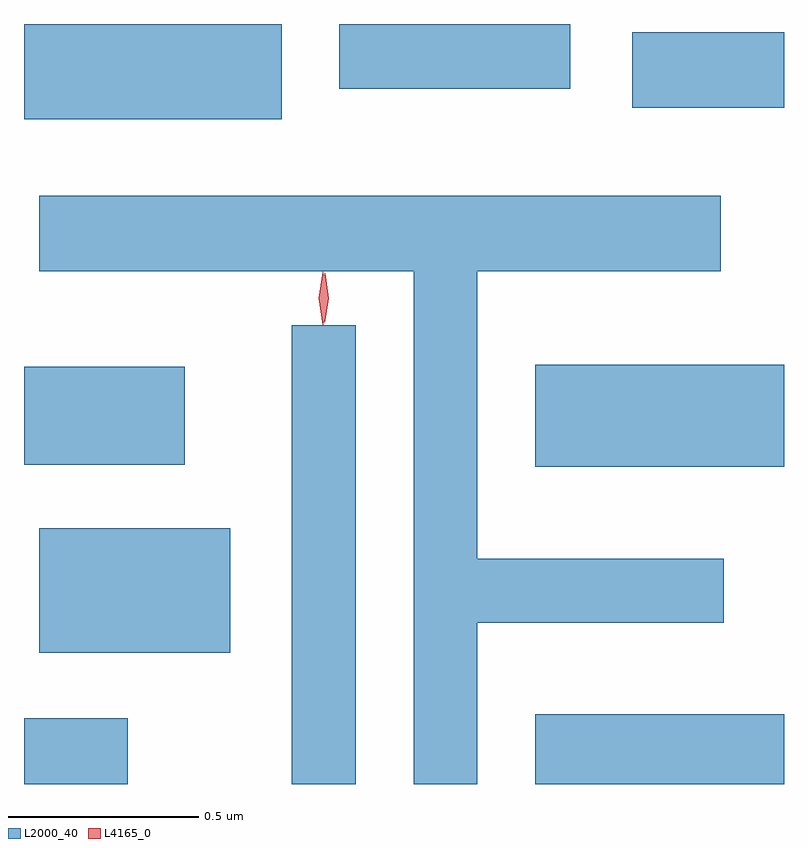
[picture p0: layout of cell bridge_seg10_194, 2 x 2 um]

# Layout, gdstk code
import gdstk
lib = gdstk.Library(unit=1e-6, precision=1e-09)
def R(c, l, rs):  # rectangles x0, y0, x1, y1
    for r in rs: c.add(gdstk.rectangle(r[:2], r[2:], *l))
def P(c, l, *ps):  # polygons
    for p in ps: c.add(gdstk.Polygon(p, *l))
L2000_40 = (2000, 40)
L4165_0 = (4165, 0)

bridge_seg10_194 = lib.new_cell('bridge_seg10_194')
R(bridge_seg10_194, L2000_40, [(1840.406,2140.966,1840.679,2141.139), (1841.111,2140.966,1841.279,2142.173), (1841.751,2140.966,1842.406,2141.149), (1840.446,2141.311,1840.949,2141.639), (1841.751,2141.801,1842.406,2142.069), (1840.406,2141.806,1840.829,2142.064), (1840.406,2142.716,1841.084,2142.966), (1842.006,2142.746,1842.406,2142.944), (1841.236,2142.796,1841.844,2142.966)])
P(bridge_seg10_194, L2000_40, [(1841.599,2141.391),(1842.248,2141.391),(1842.248,2141.559),(1841.599,2141.559),(1841.599,2142.316),(1842.239,2142.316),(1842.239,2142.514),(1840.446,2142.514),(1840.446,2142.316),(1841.431,2142.316),(1841.431,2140.966),(1841.599,2140.966)])
P(bridge_seg10_194, L4165_0, [(1841.192,2142.174),(1841.192,2142.175),(1841.182,2142.244),(1841.192,2142.313),(1841.192,2142.314),(1841.193,2142.313),(1841.202,2142.244),(1841.193,2142.175)],
  [(1841.197,2142.178),(1841.188,2142.244),(1841.198,2142.31),(1841.198,2142.311),(1841.199,2142.31),(1841.208,2142.244),(1841.198,2142.178),(1841.198,2142.178)])

lib.write_gds('bridge_seg10_194.gds')
